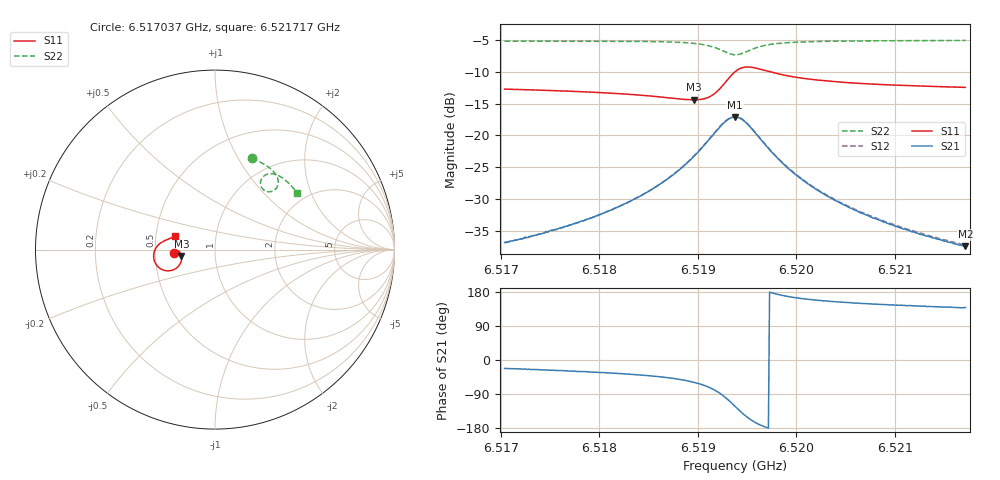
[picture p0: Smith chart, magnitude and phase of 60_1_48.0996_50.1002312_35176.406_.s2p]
#  HZ  S  RI  R  50.00
! Rohde & Schwarz Vector Network Analyzer
! Rohde-Schwarz,ZNB20-2Port,1311601062101988,3.16
! Created: UTC 12/23/2023, 3:40:39 AM
! freq[Hz]  re:S11  im:S11  re:S21  im:S21  re:S12  im:S12  re:S22  im:S22
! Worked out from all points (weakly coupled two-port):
!   401 points, 6.517037 GHz to 6.521717 GHz, reference 50 ohm
!   highest |S21| = -17.11 dB at 6.519377 GHz (marker M1); lowest = -37.4 dB at 6.521717 GHz (marker M2)
!   lowest |S11| = -14.4 dB at 6.518956 GHz (marker M3), VSWR 1.47, Z = 34.2 - j2.47 ohm
!   |S11| at or under -10 dB: start of sweep to 6.519379 GHz; 6.519728 GHz to end of sweep
!   |S22| runs from -7.3 to -5.1 dB; largest |S21 - S12| = 0.0041
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6.5170369e9  -0.2303 -0.0165  0.0134 -0.00545  0.0135 -0.00493  0.2064 0.5083
6.5174113e9  -0.2261 -0.011  0.0152 -0.00743  0.0154 -0.00692  0.2339 0.4964
6.5178208e9  -0.2202 -0.00641  0.0184 -0.0108  0.0187 -0.0101  0.2643 0.481
6.518207e9  -0.2124 -0.00446  0.0225 -0.0163  0.0232 -0.0156  0.2933 0.4629
6.518441e9  -0.2061 -0.00587  0.0261 -0.0221  0.0269 -0.0215  0.3114 0.449
6.5186048e9  -0.2006 -0.0095  0.0293 -0.0284  0.0303 -0.0276  0.3243 0.437
6.5188038e9  -0.1927 -0.0191  0.0337 -0.0412  0.035 -0.0403  0.3396 0.4174
6.5189559e9  -0.187 -0.0349  0.0354 -0.0581  0.0374 -0.0574  0.3495 0.3959
6.5190729e9  -0.1865 -0.0564  0.0321 -0.079  0.0347 -0.0786  0.3523 0.3725
6.5191548e9  -0.1937 -0.0781  0.0223 -0.0988  0.0254 -0.0987  0.3473 0.352
6.5192835e9  -0.2371 -0.1146  -0.022 -0.1275  -0.0185 -0.1292  0.3136 0.3236
6.5193771e9  -0.2956 -0.1107  -0.0741 -0.1182  -0.0715 -0.1212  0.2729 0.3313
6.5194239e9  -0.3207 -0.0918  -0.0946 -0.0989  -0.0925 -0.1023  0.2588 0.3478
6.5194824e9  -0.3385 -0.0601  -0.1068 -0.0692  -0.1056 -0.0728  0.2533 0.3722
6.5195877e9  -0.3375 -0.00934  -0.1004 -0.0258  -0.1004 -0.029  0.2678 0.4057
6.5196931e9  -0.321 0.0203  -0.0829 -0.00328  -0.0834 -0.00557  0.2909 0.4198
6.5199154e9  -0.2899 0.0453  -0.0541 0.0119  -0.055 0.0104  0.3302 0.4207
6.5201611e9  -0.2694 0.0546  -0.0369 0.0141  -0.0378 0.0132  0.359 0.4095
6.5204887e9  -0.2534 0.061  -0.0251 0.0133  -0.0258 0.0127  0.3865 0.391
6.5209451e9  -0.2399 0.0678  -0.0166 0.0115  -0.0173 0.011  0.4167 0.3639
6.5212727e9  -0.2329 0.0722  -0.0132 0.0103  -0.0138 0.0101  0.4349 0.3441
6.5217174e9  -0.2251 0.0783  -0.0101 0.009  -0.0104 0.00891  0.4573 0.3166
